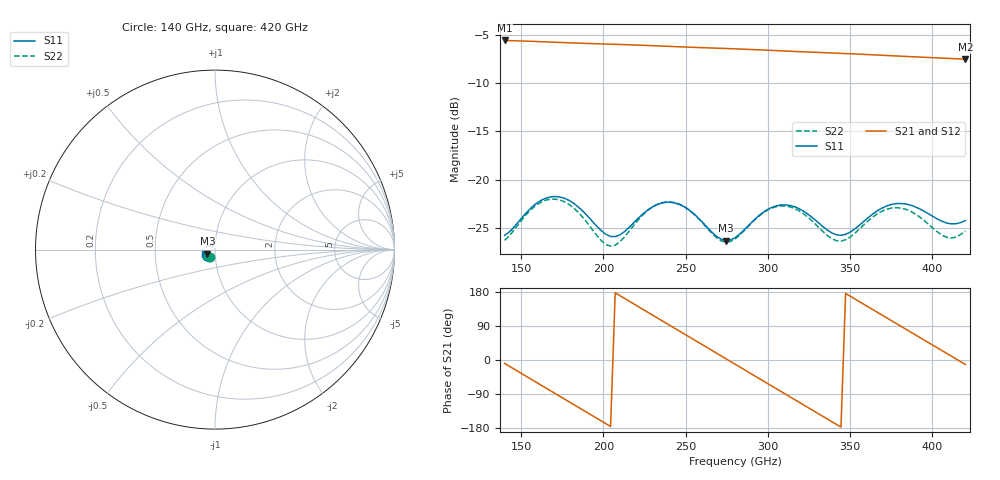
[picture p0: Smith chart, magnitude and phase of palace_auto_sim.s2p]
#  GHZ S DB R 50
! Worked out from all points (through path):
!   101 points, 140 GHz to 420 GHz, reference 50 ohm
!   highest |S21| = -5.58 dB at 140 GHz (marker M1); lowest = -7.5 dB at 420 GHz (marker M2)
!   group delay of S21, straight-line fit = 7.17 ps
!   lowest |S11| = -26.3 dB at 274.4 GHz (marker M3), VSWR 1.10, Z = 45.9 - j2.12 ohm
!   |S11| at or under -10 dB: start of sweep to end of sweep
!   |S22| runs from -26.9 to -22.0 dB; largest |S21 - S12| = 5.6e-14
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140  -25.75 -128.1  -5.58 -9.0  -5.58 -9.0  -26.26 -124.2
151.2  -23.79 -120.6  -5.64 -38.0  -5.64 -38.0  -23.99 -117.3
165.2  -21.89 -131.3  -5.73 -74.2  -5.73 -74.2  -22.10 -129.6
176.4  -21.92 -144.2  -5.81 -103.2  -5.81 -103.2  -22.28 -143.3
187.6  -23.25 -153.8  -5.88 -132.1  -5.88 -132.1  -23.91 -152.9
201.6  -25.65 -149.7  -5.95 -168.2  -5.95 -168.2  -26.70 -145.2
210  -25.70 -139.3  -6.00 170.1  -6.00 170.1  -26.43 -131.5
221.2  -23.98 -134.1  -6.07 141.0  -6.07 141.0  -24.15 -126.7
235.2  -22.42 -143.5  -6.16 104.8  -6.16 104.8  -22.39 -138.1
252  -23.11 -159.2  -6.28 61.4  -6.28 61.4  -23.11 -155.3
274.4  -26.29 -151.5  -6.41 3.6  -6.41 3.6  -26.45 -147.6
280  -26.00 -144.4  -6.45 -10.9  -6.45 -10.9  -26.13 -140.2
294  -23.79 -140.1  -6.55 -47.1  -6.55 -47.1  -23.83 -136.5
305.2  -22.69 -147.8  -6.63 -76.0  -6.63 -76.0  -22.77 -144.8
316.4  -22.80 -157.6  -6.72 -104.9  -6.72 -104.9  -22.99 -155.1
327.6  -24.00 -163.4  -6.80 -133.8  -6.80 -133.8  -24.38 -161.1
338.8  -25.49 -159.3  -6.88 -162.7  -6.88 -162.7  -26.09 -155.8
350  -25.42 -147.8  -6.96 168.4  -6.96 168.4  -25.92 -142.5
375.2  -22.55 -151.5  -7.16 103.4  -7.16 103.4  -22.92 -147.7
386.4  -22.61 -159.7  -7.26 74.6  -7.26 74.6  -23.24 -156.5
400.4  -23.81 -164.2  -7.37 38.6  -7.37 38.6  -25.02 -159.6
420  -24.23 -153.8  -7.52 -11.8  -7.52 -11.8  -25.28 -140.4
